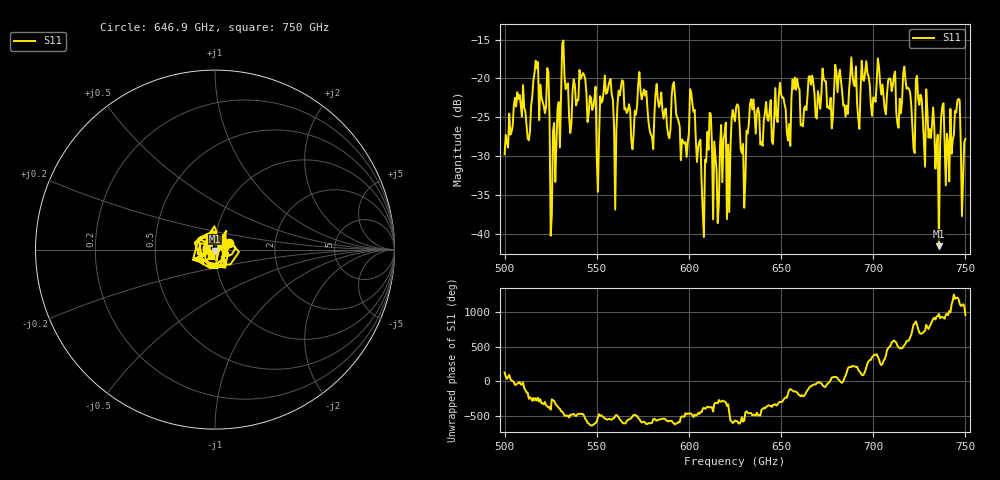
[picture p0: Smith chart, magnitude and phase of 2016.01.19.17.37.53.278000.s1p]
!Created with skrf (http://scikit-rf.org).
# GHz S RI R 50.0
!freq ReS11 ImS11
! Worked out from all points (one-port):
!   401 points, 500 GHz to 750 GHz, reference 50 ohm
!   lowest |S11| = -41.6 dB at 735.6 GHz (marker M1), VSWR 1.02, Z = 49.8 - j0.801 ohm
!   |S11| at or under -10 dB: start of sweep to end of sweep
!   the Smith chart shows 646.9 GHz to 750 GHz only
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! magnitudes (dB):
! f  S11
! 500 GHz  -29.8
! 506.9 GHz  -21.8
! 513.1 GHz  -28.0
! 516.9 GHz  -17.7
! 523.1 GHz  -18.7
! 526.2 GHz  -26.8
! 531.2 GHz  -15.6
! 541.9 GHz  -19.7
! 551.2 GHz  -27.5
! 553.1 GHz  -22.9
! 560 GHz  -36.9
! 562.5 GHz  -22.2
! 593.8 GHz  -25.1
! 598.1 GHz  -28.2
! 601.9 GHz  -23.2
! 608.1 GHz  -40.4
! 611.2 GHz  -24.4
! 614.4 GHz  -30.0
! 621.9 GHz  -37.2
! 625 GHz  -25.5
! 629.4 GHz  -28.4
! 634.4 GHz  -24.0
! 656.2 GHz  -20.1
! 687.5 GHz  -19.8
! 718.8 GHz  -21.2
! 735.6 GHz  -41.6
! 745.6 GHz  -22.9
! 750 GHz  -27.8
